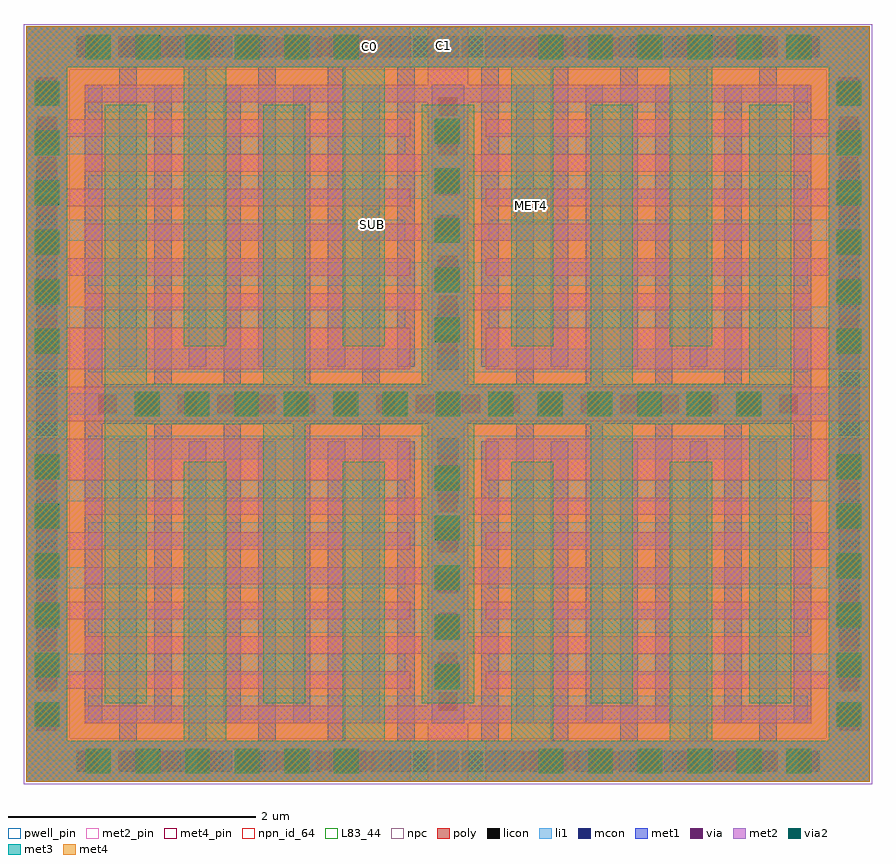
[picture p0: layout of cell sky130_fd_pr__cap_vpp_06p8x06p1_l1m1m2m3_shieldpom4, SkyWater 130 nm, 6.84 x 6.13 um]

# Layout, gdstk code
import gdstk
lib = gdstk.Library(unit=1e-6, precision=1e-09)
def R(c, l, rs):  # rectangles x0, y0, x1, y1
    for r in rs: c.add(gdstk.rectangle(r[:2], r[2:], *l))
def A(c, l, x, y, w, h, nx, ny, dx, dy):  # array of equal rectangles
    R(c, l, [(x+i*dx, y+j*dy, x+i*dx+w, y+j*dy+h) for i in range(nx) for j in range(ny)])
def P(c, l, *ps):  # polygons
    for p in ps: c.add(gdstk.Polygon(p, *l))
poly = (66, 20)
licon = (66, 44)
li1 = (67, 20)
mcon = (67, 44)
met1 = (68, 20)
via = (68, 44)
met2_pin = (69, 16)
met2 = (69, 20)
via2 = (69, 44)
met3 = (70, 20)
met4_pin = (71, 16)
met4 = (71, 20)
npn_id_64 = (82, 64)
L83_44 = (83, 44)
npc = (95, 20)
pwell_pin = (122, 16)

sky130_fd_pr__cap_vpp_06 = lib.new_cell('sky130_fd_pr__cap_vpp_06p8x06p1_l1m1m2m3_shieldpom4')
R(sky130_fd_pr__cap_vpp_06, poly, [(0,0,6.8,6.09)])
A(sky130_fd_pr__cap_vpp_06, licon, 0.4, 0.08, 0.17, 0.17, 9, 2, 0.34, 5.76)
A(sky130_fd_pr__cap_vpp_06, licon, 3.51, 0.08, 0.17, 0.17, 9, 2, 0.34, 5.76)
A(sky130_fd_pr__cap_vpp_06, licon, 0.08, 0.41, 0.17, 0.17, 1, 16, 0, 0.34)
A(sky130_fd_pr__cap_vpp_06, licon, 6.55, 0.41, 0.17, 0.17, 1, 16, 0, 0.34)
P(sky130_fd_pr__cap_vpp_06, li1, [(6.8,6.09),(6.47,6.09),(6.47,5.23),(3.73,5.23),(3.73,5.06),(6.47,5.06),(6.47,4.53),(3.73,4.53),(3.73,4.36),(6.47,4.36),(6.47,3.83),(3.73,3.83),(3.73,3.66),(6.47,3.66),(6.47,3.13),(3.73,3.13),(3.73,2.96),(6.47,2.96),(6.47,2.43),(3.73,2.43),(3.73,2.26),(6.47,2.26),(6.47,1.73),(3.73,1.73),(3.73,1.56),(6.47,1.56),(6.47,1.03),(3.73,1.03),(3.73,0.86),(6.47,0.86),(6.47,0.33),(0.33,0.33),(0.33,0.86),(3.055,0.86),(3.055,1.03),(0.33,1.03),(0.33,1.56),(3.055,1.56),(3.055,1.73),(0.33,1.73),(0.33,2.26),(3.055,2.26),(3.055,2.43),(0.33,2.43),(0.33,2.96),(3.055,2.96),(3.055,3.13),(0.33,3.13),(0.33,3.66),(3.055,3.66),(3.055,3.83),(0.33,3.83),(0.33,4.36),(3.055,4.36),(3.055,4.53),(0.33,4.53),(0.33,5.06),(3.055,5.06),(3.055,5.23),(0.33,5.23),(0.33,5.76),(6.47,5.76),(6.47,6.09),(0,6.09),(0,0),(6.8,0)],
  [(6.3,0.69),(3.56,0.69),(3.56,1.2),(6.3,1.2),(6.3,1.39),(3.56,1.39),(3.56,1.9),(6.3,1.9),(6.3,2.09),(3.56,2.09),(3.56,2.6),(6.3,2.6),(6.3,2.79),(3.56,2.79),(3.56,3.3),(6.3,3.3),(6.3,3.49),(3.56,3.49),(3.56,4),(6.3,4),(6.3,4.19),(3.56,4.19),(3.56,4.7),(6.3,4.7),(6.3,4.89),(3.56,4.89),(3.56,5.4),(6.3,5.4),(6.3,5.59),(0.5,5.59),(0.5,5.4),(3.24,5.4),(3.24,4.89),(0.5,4.89),(0.5,4.7),(3.24,4.7),(3.24,4.19),(0.5,4.19),(0.5,4),(3.24,4),(3.24,3.49),(0.5,3.49),(0.5,3.3),(3.24,3.3),(3.24,2.79),(0.5,2.79),(0.5,2.6),(3.24,2.6),(3.24,2.09),(0.5,2.09),(0.5,1.9),(3.24,1.9),(3.24,1.39),(0.5,1.39),(0.5,1.2),(3.24,1.2),(3.24,0.69),(0.5,0.69),(0.5,0.5),(6.3,0.5)])
A(sky130_fd_pr__cap_vpp_06, mcon, 0.41, 0.08, 0.17, 0.17, 8, 2, 0.36, 5.76)
A(sky130_fd_pr__cap_vpp_06, mcon, 3.7, 0.08, 0.17, 0.17, 8, 2, 0.36, 5.76)
A(sky130_fd_pr__cap_vpp_06, mcon, 0.08, 0.8, 0.17, 0.17, 3, 13, 3.235, 0.36)
R(sky130_fd_pr__cap_vpp_06, mcon, [(3.315,0.08,3.485,0.25), (0.08,0.44,0.25,0.61), (6.55,0.44,6.72,0.61), (0.08,5.48,0.25,5.65), (6.55,5.48,6.72,5.65), (3.315,5.84,3.485,6.01)])
P(sky130_fd_pr__cap_vpp_06, met1, [(6.33,5.62),(6.19,5.62),(6.19,3.205),(5.77,3.205),(5.77,5.62),(5.63,5.62),(5.63,3.205),(5.21,3.205),(5.21,5.62),(5.07,5.62),(5.07,3.205),(4.65,3.205),(4.65,5.62),(4.51,5.62),(4.51,3.205),(4.09,3.205),(4.09,5.62),(3.95,5.62),(3.95,3.205),(3.53,3.205),(3.53,5.62),(3.27,5.62),(3.27,3.205),(2.85,3.205),(2.85,5.62),(2.71,5.62),(2.71,3.205),(2.29,3.205),(2.29,5.62),(2.15,5.62),(2.15,3.205),(1.73,3.205),(1.73,5.62),(1.59,5.62),(1.59,3.205),(1.17,3.205),(1.17,5.62),(1.03,5.62),(1.03,3.205),(0.61,3.205),(0.61,5.62),(0.47,5.62),(0.47,0.47),(0.61,0.47),(0.61,2.885),(1.03,2.885),(1.03,0.47),(1.17,0.47),(1.17,2.885),(1.59,2.885),(1.59,0.47),(1.73,0.47),(1.73,2.885),(2.15,2.885),(2.15,0.47),(2.29,0.47),(2.29,2.885),(2.71,2.885),(2.71,0.47),(2.85,0.47),(2.85,2.885),(3.27,2.885),(3.27,0.47),(3.53,0.47),(3.53,2.885),(3.95,2.885),(3.95,0.47),(4.09,0.47),(4.09,2.885),(4.51,2.885),(4.51,0.47),(4.65,0.47),(4.65,2.885),(5.07,2.885),(5.07,0.47),(5.21,0.47),(5.21,2.885),(5.63,2.885),(5.63,0.47),(5.77,0.47),(5.77,2.885),(6.19,2.885),(6.19,0.47),(6.33,0.47)],
  [(6.8,6.09),(6.47,6.09),(6.47,0.33),(6.05,0.33),(6.05,2.745),(5.91,2.745),(5.91,0.33),(5.49,0.33),(5.49,2.745),(5.35,2.745),(5.35,0.33),(4.93,0.33),(4.93,2.745),(4.79,2.745),(4.79,0.33),(4.37,0.33),(4.37,2.745),(4.23,2.745),(4.23,0.33),(3.81,0.33),(3.81,2.745),(3.67,2.745),(3.67,0.33),(3.13,0.33),(3.13,2.745),(2.99,2.745),(2.99,0.33),(2.57,0.33),(2.57,2.745),(2.43,2.745),(2.43,0.33),(2.01,0.33),(2.01,2.745),(1.87,2.745),(1.87,0.33),(1.45,0.33),(1.45,2.745),(1.31,2.745),(1.31,0.33),(0.89,0.33),(0.89,2.745),(0.75,2.745),(0.75,0.33),(0.33,0.33),(0.33,5.76),(0.75,5.76),(0.75,3.345),(0.89,3.345),(0.89,5.76),(1.31,5.76),(1.31,3.345),(1.45,3.345),(1.45,5.76),(1.87,5.76),(1.87,3.345),(2.01,3.345),(2.01,5.76),(2.43,5.76),(2.43,3.345),(2.57,3.345),(2.57,5.76),(2.99,5.76),(2.99,3.345),(3.13,3.345),(3.13,5.76),(3.67,5.76),(3.67,3.345),(3.81,3.345),(3.81,5.76),(4.23,5.76),(4.23,3.345),(4.37,3.345),(4.37,5.76),(4.79,5.76),(4.79,3.345),(4.93,3.345),(4.93,5.76),(5.35,5.76),(5.35,3.345),(5.49,3.345),(5.49,5.76),(5.91,5.76),(5.91,3.345),(6.05,3.345),(6.05,5.76),(6.47,5.76),(6.47,6.09),(0,6.09),(0,0),(6.8,0)])
A(sky130_fd_pr__cap_vpp_06, via, 0.42, 0.09, 0.15, 0.15, 8, 2, 0.32, 5.76)
A(sky130_fd_pr__cap_vpp_06, via, 3.99, 0.09, 0.15, 0.15, 8, 2, 0.32, 5.76)
A(sky130_fd_pr__cap_vpp_06, via, 0.09, 0.41, 0.15, 0.15, 1, 7, 0, 0.32)
A(sky130_fd_pr__cap_vpp_06, via, 6.56, 0.41, 0.15, 0.15, 1, 7, 0, 0.32)
A(sky130_fd_pr__cap_vpp_06, via, 3.325, 0.57, 0.15, 0.15, 1, 7, 0, 0.32)
A(sky130_fd_pr__cap_vpp_06, via, 3.325, 3.45, 0.15, 0.15, 1, 7, 0, 0.32)
A(sky130_fd_pr__cap_vpp_06, via, 0.09, 3.61, 0.15, 0.15, 1, 7, 0, 0.32)
A(sky130_fd_pr__cap_vpp_06, via, 6.56, 3.61, 0.15, 0.15, 1, 7, 0, 0.32)
R(sky130_fd_pr__cap_vpp_06, via, [(0.58,2.97,0.73,3.12), (0.58,2.97,0.73,3.12), (0.9,2.97,1.05,3.12), (0.9,2.97,1.05,3.12), (1.22,2.97,1.37,3.12), (1.22,2.97,1.37,3.12), (1.54,2.97,1.69,3.12), (1.54,2.97,1.69,3.12), (1.86,2.97,2.01,3.12), (1.86,2.97,2.01,3.12), (1.86,2.97,2.01,3.12), (2.18,2.97,2.33,3.12), (2.18,2.97,2.33,3.12), (2.5,2.97,2.65,3.12), (2.5,2.97,2.65,3.12), (2.82,2.97,2.97,3.12), (2.82,2.97,2.97,3.12), (3.14,2.97,3.29,3.12), (3.14,2.97,3.29,3.12), (3.14,2.97,3.29,3.12), (3.51,2.97,3.66,3.12), (3.51,2.97,3.66,3.12), (3.83,2.97,3.98,3.12), (3.83,2.97,3.98,3.12), (4.15,2.97,4.3,3.12), (4.15,2.97,4.3,3.12), (4.47,2.97,4.62,3.12), (4.47,2.97,4.62,3.12), (4.47,2.97,4.62,3.12), (4.79,2.97,4.94,3.12), (4.79,2.97,4.94,3.12), (5.11,2.97,5.26,3.12), (5.11,2.97,5.26,3.12), (5.43,2.97,5.58,3.12), (5.43,2.97,5.58,3.12), (5.75,2.97,5.9,3.12), (5.75,2.97,5.9,3.12), (5.75,2.97,5.9,3.12), (6.07,2.97,6.22,3.12), (6.07,2.97,6.22,3.12)])
R(sky130_fd_pr__cap_vpp_06, met2_pin, [(3.26,5.845,3.52,6.025), (2.735,5.87,2.83,5.97)])
P(sky130_fd_pr__cap_vpp_06, met2, [(3.095,3.66),(0.33,3.66),(0.33,4.08),(3.095,4.08),(3.095,4.22),(0.33,4.22),(0.33,4.64),(3.095,4.64),(3.095,4.78),(0.33,4.78),(0.33,5.2),(3.095,5.2),(3.095,5.34),(0.33,5.34),(0.33,5.76),(3.095,5.76),(3.095,6.09),(0,6.09),(0,3.325),(3.095,3.325)],
  [(6.8,2.765),(3.705,2.765),(3.705,2.43),(6.47,2.43),(6.47,2.01),(3.705,2.01),(3.705,1.87),(6.47,1.87),(6.47,1.45),(3.705,1.45),(3.705,1.31),(6.47,1.31),(6.47,0.89),(3.705,0.89),(3.705,0.75),(6.47,0.75),(6.47,0.33),(3.705,0.33),(3.705,0),(6.8,0)],
  [(6.8,3.185),(3.565,3.185),(3.565,3.8),(6.33,3.8),(6.33,3.94),(3.565,3.94),(3.565,4.36),(6.33,4.36),(6.33,4.5),(3.565,4.5),(3.565,4.92),(6.33,4.92),(6.33,5.06),(3.565,5.06),(3.565,5.48),(6.33,5.48),(6.33,5.62),(3.565,5.62),(3.565,6.09),(3.235,6.09),(3.235,5.62),(0.47,5.62),(0.47,5.48),(3.235,5.48),(3.235,5.06),(0.47,5.06),(0.47,4.92),(3.235,4.92),(3.235,4.5),(0.47,4.5),(0.47,4.36),(3.235,4.36),(3.235,3.94),(0.47,3.94),(0.47,3.8),(3.235,3.8),(3.235,3.185),(0,3.185),(0,2.905),(3.235,2.905),(3.235,2.29),(0.47,2.29),(0.47,2.15),(3.235,2.15),(3.235,1.73),(0.47,1.73),(0.47,1.59),(3.235,1.59),(3.235,1.17),(0.47,1.17),(0.47,1.03),(3.235,1.03),(3.235,0.61),(0.47,0.61),(0.47,0.47),(3.235,0.47),(3.235,0),(3.565,0),(3.565,0.47),(6.33,0.47),(6.33,0.61),(3.565,0.61),(3.565,1.03),(6.33,1.03),(6.33,1.17),(3.565,1.17),(3.565,1.59),(6.33,1.59),(6.33,1.73),(3.565,1.73),(3.565,2.15),(6.33,2.15),(6.33,2.29),(3.565,2.29),(3.565,2.905),(6.8,2.905)],
  [(3.095,0.33),(0.33,0.33),(0.33,0.75),(3.095,0.75),(3.095,0.89),(0.33,0.89),(0.33,1.31),(3.095,1.31),(3.095,1.45),(0.33,1.45),(0.33,1.87),(3.095,1.87),(3.095,2.01),(0.33,2.01),(0.33,2.43),(3.095,2.43),(3.095,2.765),(0,2.765),(0,0),(3.095,0)],
  [(6.8,6.09),(3.705,6.09),(3.705,5.76),(6.47,5.76),(6.47,5.34),(3.705,5.34),(3.705,5.2),(6.47,5.2),(6.47,4.78),(3.705,4.78),(3.705,4.64),(6.47,4.64),(6.47,4.22),(3.705,4.22),(3.705,4.08),(6.47,4.08),(6.47,3.66),(3.705,3.66),(3.705,3.325),(6.8,3.325)])
A(sky130_fd_pr__cap_vpp_06, via2, 0.48, 0.065, 0.2, 0.2, 6, 2, 0.4, 5.76)
A(sky130_fd_pr__cap_vpp_06, via2, 4.13, 0.065, 0.2, 0.2, 6, 2, 0.4, 5.76)
A(sky130_fd_pr__cap_vpp_06, via2, 0.065, 0.44, 0.2, 0.2, 1, 6, 0, 0.4)
A(sky130_fd_pr__cap_vpp_06, via2, 6.535, 0.44, 0.2, 0.2, 1, 6, 0, 0.4)
A(sky130_fd_pr__cap_vpp_06, via2, 3.295, 0.745, 0.2, 0.2, 1, 5, 0, 0.4)
A(sky130_fd_pr__cap_vpp_06, via2, 0.875, 2.945, 0.2, 0.2, 6, 1, 0.4, 0)
A(sky130_fd_pr__cap_vpp_06, via2, 3.725, 2.945, 0.2, 0.2, 6, 1, 0.4, 0)
A(sky130_fd_pr__cap_vpp_06, via2, 0.065, 3.45, 0.2, 0.2, 1, 6, 0, 0.4)
A(sky130_fd_pr__cap_vpp_06, via2, 6.535, 3.45, 0.2, 0.2, 1, 6, 0, 0.4)
A(sky130_fd_pr__cap_vpp_06, via2, 3.295, 3.545, 0.2, 0.2, 1, 5, 0, 0.4)
R(sky130_fd_pr__cap_vpp_06, via2, [(3.3,2.945,3.5,3.145)])
P(sky130_fd_pr__cap_vpp_06, met3, [(6.17,5.46),(5.83,5.46),(5.83,3.21),(4.89,3.21),(4.89,5.46),(4.55,5.46),(4.55,3.21),(3.61,3.21),(3.61,5.46),(3.19,5.46),(3.19,3.21),(2.25,3.21),(2.25,5.46),(1.91,5.46),(1.91,3.21),(0.97,3.21),(0.97,5.46),(0.63,5.46),(0.63,0.63),(0.97,0.63),(0.97,2.88),(1.91,2.88),(1.91,0.63),(2.25,0.63),(2.25,2.88),(3.19,2.88),(3.19,0.63),(3.61,0.63),(3.61,2.88),(4.55,2.88),(4.55,0.63),(4.89,0.63),(4.89,2.88),(5.83,2.88),(5.83,0.63),(6.17,0.63)],
  [(6.8,6.09),(6.47,6.09),(6.47,0.33),(5.53,0.33),(5.53,2.58),(5.19,2.58),(5.19,0.33),(4.25,0.33),(4.25,2.58),(3.91,2.58),(3.91,0.33),(2.89,0.33),(2.89,2.58),(2.55,2.58),(2.55,0.33),(1.61,0.33),(1.61,2.58),(1.27,2.58),(1.27,0.33),(0.33,0.33),(0.33,5.76),(1.27,5.76),(1.27,3.51),(1.61,3.51),(1.61,5.76),(2.55,5.76),(2.55,3.51),(2.89,3.51),(2.89,5.76),(3.91,5.76),(3.91,3.51),(4.25,3.51),(4.25,5.76),(5.19,5.76),(5.19,3.51),(5.53,3.51),(5.53,5.76),(6.47,5.76),(6.47,6.09),(0,6.09),(0,0),(6.8,0)])
R(sky130_fd_pr__cap_vpp_06, met4_pin, [(3.94,4.51,4.205,4.785)])
R(sky130_fd_pr__cap_vpp_06, met4, [(0,0,6.8,6.09)])
R(sky130_fd_pr__cap_vpp_06, npn_id_64, [(0.17,0.17,6.63,5.92)])
R(sky130_fd_pr__cap_vpp_06, L83_44, [(0.17,0.17,6.63,5.92), (3.085,5.76,3.09,6.09), (3.235,6.08,3.565,6.085)])
R(sky130_fd_pr__cap_vpp_06, npc, [(-0.02,-0.02,6.82,0.35), (-0.02,-0.02,0.35,6.11), (6.45,-0.02,6.82,6.11), (-0.02,5.74,6.82,6.11)])
R(sky130_fd_pr__cap_vpp_06, pwell_pin, [(2.735,4.37,2.84,4.615)])
sky130_fd_pr__cap_vpp_06.add(gdstk.Label('MET4', (4.075,4.65), layer=71, texttype=5))
sky130_fd_pr__cap_vpp_06.add(gdstk.Label('C0', (2.77,5.93), layer=69, texttype=5))
sky130_fd_pr__cap_vpp_06.add(gdstk.Label('C1', (3.365,5.935), layer=69, texttype=5))
sky130_fd_pr__cap_vpp_06.add(gdstk.Label('SUB', (2.79,4.495), layer=64, texttype=59))

lib.write_gds('sky130_fd_pr__cap_vpp_06p8x06p1_l1m1m2m3_shieldpom4.gds')
